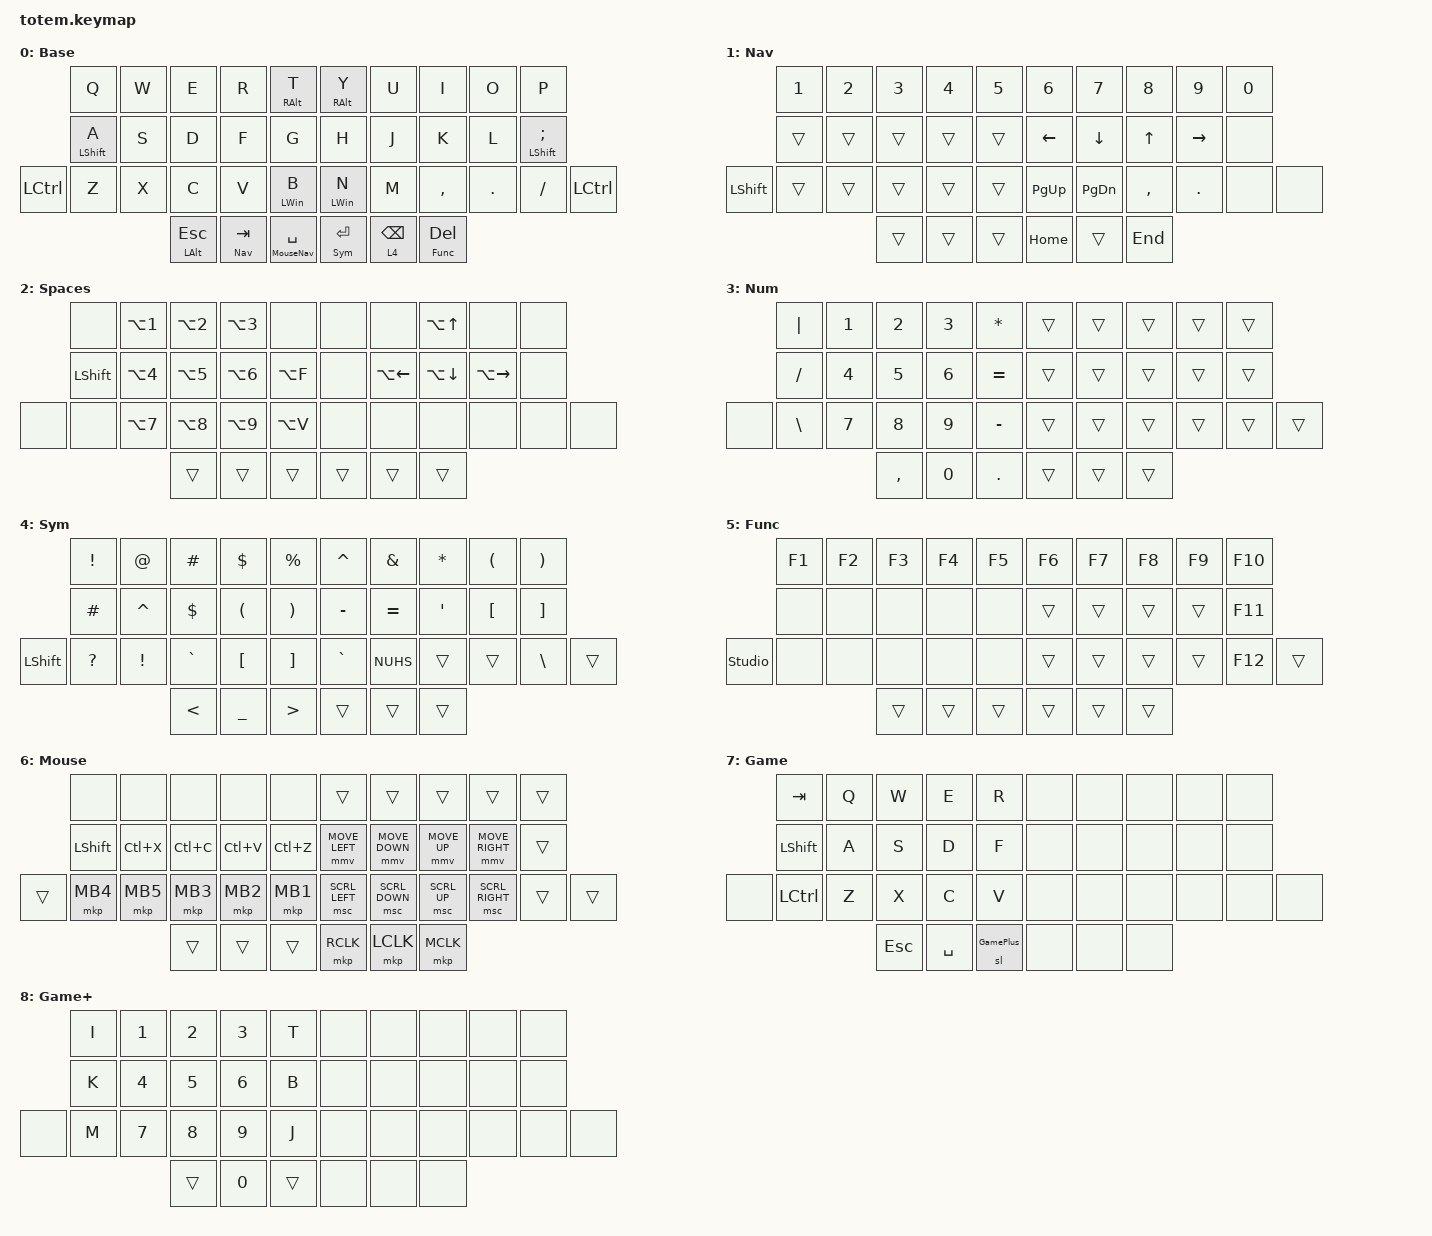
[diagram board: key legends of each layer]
//
//                                                        ▀▀▀▀▀     ▀▀▀▀▀          ▀▀█▀▀
//                                                        ▄▀▀▀▄  ▄  ▄▀▀▀▄  ▄  ▄▀▀▀▄  █  ▄▀▀▀▄
//                                                        █   █  █  █   █  █  █   █  █  █   █
//                                                         ▀▀▀   █   ▀▀▀   █   ▀▀▀   ▀   ▀▀▀
//                                                               █      ▄▄▄█▄▄▄    █   █
//                                                               ▀      █  █  █     █▄█
//                                                             ▀▀▀▀▀    █  █  █      ▀
//                                                                      ▀  ▀  ▀
//
// ▄▄▄▄▄▄▄▄▄▄▄▄▄▄▄▄▄▄▄▄▄▄▄▄▄▄▄▄▄▄▄▄▄▄▄▄▄▄▄▄▄▄▄▄▄▄▄▄▄▄▄▄▄▄▄▄▄▄▄▄▄▄▄▄▄▄▄▄▄▄▄▄▄▄▄▄▄▄▄▄▄▄▄▄▄▄▄▄▄▄▄▄▄▄▄▄▄▄▄▄▄▄▄▄▄▄▄▄▄▄▄▄▄▄▄▄▄▄▄▄▄▄▄▄▄▄▄▄▄▄▄▄▄▄▄▄▄▄▄▄▄▄▄▄▄▄▄▄▄

#include <behaviors.dtsi>
#include <dt-bindings/zmk/keys.h>
#include <dt-bindings/zmk/pointing.h>

#define Base        0
#define Nav         1
#define SpaceNav    2
#define Num         3
#define Sym         4
#define Func        5
#define MouseNav    6
#define Game        7
#define GamePlus    8

&mt {
    flavor = "balanced";
    tapping-term-ms = <200>;
    quick-tap-ms = <100>;
    require-prior-idle-ms = <150>;
};

&lt {
    flavor = "balanced";
    quick-tap-ms = <150>;
};

/ {
    behaviors {
        hm: homerow_mods {
            compatible = "zmk,behavior-hold-tap";
            label = "HOMEROW_MODS";
            #binding-cells = <2>;
            flavor = "balanced";
            tapping-term-ms = <200>;
            quick-tap-ms = <125>;
            require-prior-idle-ms = <150>;
            bindings = <&kp>, <&kp>;
        };

        dot_colon: dot_colon {
            compatible = "zmk,behavior-mod-morph";
            label = ". :";
            bindings = <&kp PERIOD>, <&kp COLON>;

            #binding-cells = <0>;
            mods = <(MOD_LSFT|MOD_RSFT)>;
        };

        comma_semi: comma_semi {
            compatible = "zmk,behavior-mod-morph";
            label = ", :";
            bindings = <&kp COMMA>, <&kp SEMI>;

            #binding-cells = <0>;
            mods = <(MOD_LSFT|MOD_RSFT)>;
        };
    };

    combos {
        compatible = "zmk,combos";

        combo_bootloader {
            timeout-ms = <50>;
            require-prior-idle-ms = <500>;
            key-positions = <0 9>;
            layers = <Func>;
            bindings = <&bootloader>;
        };

        combo_caps_word {
            timeout-ms = <50>;
            require-prior-idle-ms = <150>;
            key-positions = <13 16>;
            bindings = <&caps_word>;
        };

        combo_game {
            timeout-ms = <50>;
            require-prior-idle-ms = <500>;
            key-positions = <32 37>;
            bindings = <&tog Game>;
        };
    };

    keymap {
        compatible = "zmk,keymap";

        Base {
            display-name = "Base";
            bindings = <
           &kp Q        &kp W  &kp E             &kp R        &mt RALT T            &mt RIGHT_ALT Y  &kp U       &kp I            &kp O       &kp P
           &mt LSHFT A  &kp S  &kp D             &kp F        &kp G                 &kp H            &kp J       &kp K            &kp L       &mt LSHFT SEMICOLON
&kp LCTRL  &kp Z        &kp X  &kp C             &kp V        &mt LWIN B            &mt LWIN N       &kp M       &kp COMMA        &kp PERIOD  &kp SLASH            &kp LCTRL
                               &mt LEFT_ALT ESC  &lt Nav TAB  &lt MouseNav SPACE    &lt Sym ENTER    &lt 4 BSPC  &lt Func DELETE
            >;
        };

        Nav {
            display-name = "Nav";
            bindings = <
           &kp NUMBER_1  &kp NUMBER_2  &kp NUMBER_3  &kp NUMBER_4  &kp N5    &kp NUMBER_6    &kp N7          &kp NUMBER_8  &kp NUMBER_9  &kp NUMBER_0
           &trans        &trans        &trans        &trans        &trans    &kp LEFT_ARROW  &kp DOWN_ARROW  &kp UP_ARROW  &kp RIGHT     &none
&kp LSHFT  &trans        &trans        &trans        &trans        &trans    &kp PAGE_UP     &kp PAGE_DOWN   &kp COMMA     &kp PERIOD    &none         &none
                                       &trans        &trans        &trans    &kp HOME        &trans          &kp END
            >;
        };

        SpaceNav {
            display-name = "Spaces";
            bindings = <
       &none           &kp LA(NUMBER_1)  &kp LA(NUMBER_2)  &kp LA(NUMBER_3)  &none        &none   &none               &kp LA(UP_ARROW)    &none                &none
       &kp LEFT_SHIFT  &kp LA(NUMBER_4)  &kp LA(NUMBER_5)  &kp LA(NUMBER_6)  &kp LA(F)    &none   &kp LA(LEFT_ARROW)  &kp LA(DOWN_ARROW)  &kp LA(RIGHT_ARROW)  &none
&none  &none           &kp LA(N7)        &kp LA(N8)        &kp LA(N9)        &kp LA(V)    &none   &none               &none               &none                &none  &none
                                         &trans            &trans            &trans       &trans  &trans              &trans
            >;
        };

        Num {
            display-name = "Num";
            bindings = <
       &kp PIPE  &kp N1  &kp N2     &kp N3  &kp STAR     &trans  &trans  &trans  &trans  &trans
       &kp FSLH  &kp N4  &kp N5     &kp N6  &kp EQUAL    &trans  &trans  &trans  &trans  &trans
&none  &kp BSLH  &kp N7  &kp N8     &kp N9  &kp MINUS    &trans  &trans  &trans  &trans  &trans  &trans
                         &kp COMMA  &kp N0  &kp DOT      &trans  &trans  &trans
            >;
        };

        Sym {
            display-name = "Sym";
            bindings = <
           &kp EXCLAMATION  &kp AT     &kp HASH   &kp DOLLAR  &kp PRCNT    &kp CARET  &kp AMPS   &kp STAR          &kp LEFT_PARENTHESIS  &kp RIGHT_PARENTHESIS
           &kp POUND        &kp CARET  &kp DLLR   &kp LPAR    &kp RPAR     &kp MINUS  &kp EQUAL  &kp SINGLE_QUOTE  &kp LEFT_BRACKET      &kp RIGHT_BRACKET
&kp LSHFT  &kp QMARK        &kp EXCL   &kp GRAVE  &kp LBKT    &kp RBKT     &kp GRAVE  &kp NUHS   &trans            &trans                &kp BACKSLASH          &trans
                                       &kp LT     &kp UNDER   &kp GT       &trans     &trans     &trans
            >;
        };

        Func {
            display-name = "Func";
            bindings = <
                &kp F1  &kp F2  &kp F3  &kp F4  &kp F5    &kp F6  &kp F7  &kp F8  &kp F9  &kp F10
                &none   &none   &none   &none   &none     &trans  &trans  &trans  &trans  &kp F11
&studio_unlock  &none   &none   &none   &none   &none     &trans  &trans  &trans  &trans  &kp F12  &trans
                                &trans  &trans  &trans    &trans  &trans  &trans
            >;
        };

        MouseNav {
            display-name = "Mouse";
            bindings = <
        &none           &none      &none      &none      &none        &trans          &trans          &trans        &trans           &trans
        &kp LEFT_SHIFT  &kp LC(X)  &kp LC(C)  &kp LC(V)  &kp LC(Z)    &mmv MOVE_LEFT  &mmv MOVE_DOWN  &mmv MOVE_UP  &mmv MOVE_RIGHT  &trans
&trans  &mkp MB4        &mkp MB5   &mkp MB3   &mkp MB2   &mkp MB1     &msc SCRL_LEFT  &msc SCRL_DOWN  &msc SCRL_UP  &msc SCRL_RIGHT  &trans  &trans
                                   &trans     &trans     &trans       &mkp RCLK       &mkp LCLK       &mkp MCLK
            >;
        };

        Game {
            display-name = "Game";
            bindings = <
       &kp TAB     &kp Q  &kp W    &kp E      &kp R           &none  &none  &none  &none  &none
       &kp LSHIFT  &kp A  &kp S    &kp D      &kp F           &none  &none  &none  &none  &none
&none  &kp LCTRL   &kp Z  &kp X    &kp C      &kp V           &none  &none  &none  &none  &none  &none
                          &kp ESC  &kp SPACE  &sl GamePlus    &none  &none  &none
            >;
        };

        GamePlus {
            display-name = "Game+";
            bindings = <
       &kp I  &kp N1  &kp N2  &kp N3  &kp T     &none  &none  &none  &none  &none
       &kp K  &kp N4  &kp N5  &kp N6  &kp B     &none  &none  &none  &none  &none
&none  &kp M  &kp N7  &kp N8  &kp N9  &kp J     &none  &none  &none  &none  &none  &none
                      &trans  &kp N0  &trans    &none  &none  &none
            >;
        };
    };
};
